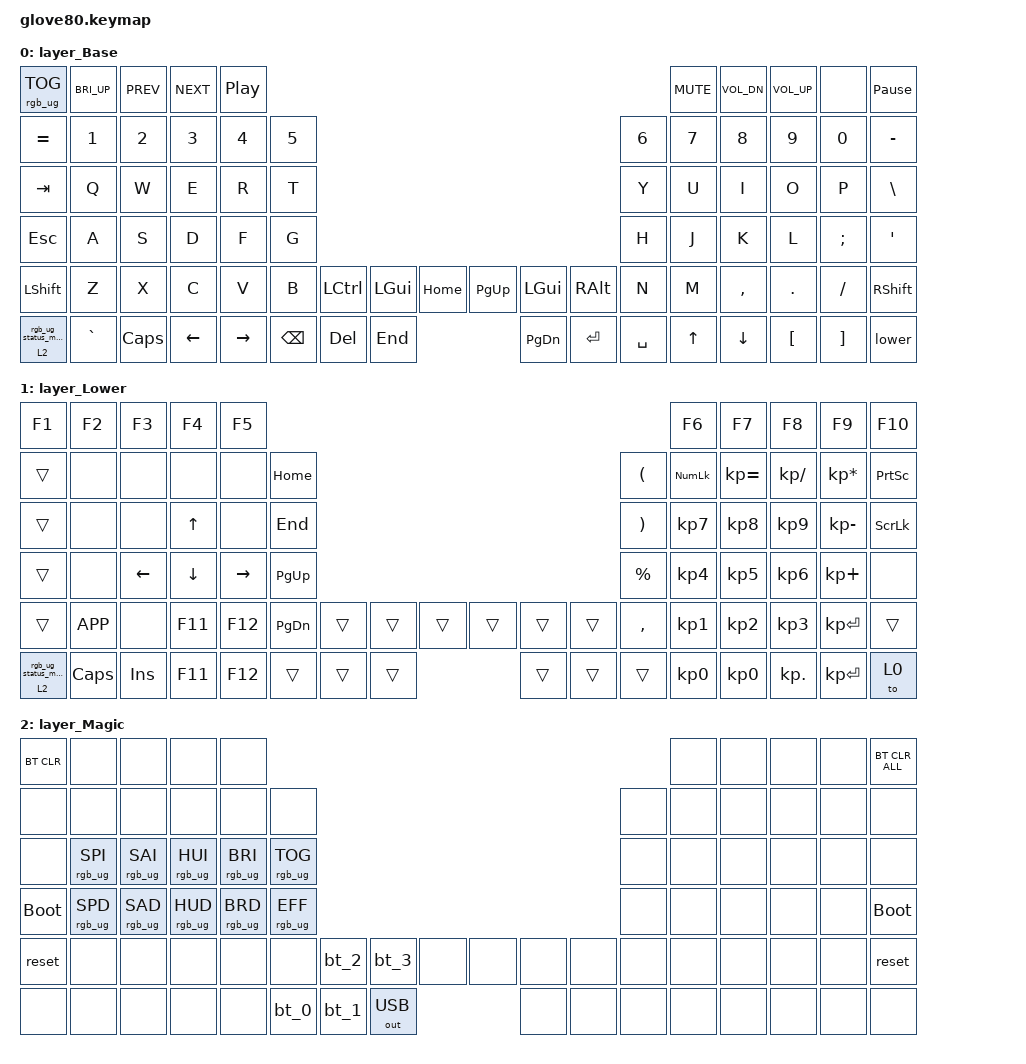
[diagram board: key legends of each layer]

#include <behaviors.dtsi>
/* Include all behaviour includes needed by system behaviors/macros */
#include <dt-bindings/zmk/outputs.h>

/* Include behaviour includes needed by key binds - automatically generated */
#include <dt-bindings/zmk/keys.h>
#include <dt-bindings/zmk/bt.h>
#include <dt-bindings/zmk/rgb.h>
#include <dt-bindings/zmk/outputs.h>

#define AS(keycode) &as LS(keycode) keycode

/ {
    /* Glove80 system behavior & macros */
    behaviors {
        // For the "layer" key, it'd nice to be able to use it as either a shift or a toggle.
        // Configure it as a tap dance, so the first tap (or hold) is a &mo and the second tap is a &to
        lower: tap_dance_0 {
            compatible = "zmk,behavior-tap-dance";
            label = "LAYER_TAP_DANCE";
            #binding-cells = <0>;
            tapping-term-ms = <200>;
            bindings = <&mo 1>, <&to 1>;
        };
/*
        shifty: tap_dance_1 {
            compatible = "zmk,behavior-hold-tap";
            label = "SHIFTY";
            #binding-cells = <2>;
            tapping-term-ms = <135>;
            flavor = "tap-preferred";
            bindings = <&kp>, <&kp>;
        }; */
        as: auto_shift {
            compatible = "zmk,behavior-hold-tap";
            label = "AUTO_SHIFT";
            #binding-cells = <2>;
            tapping-term-ms = <200>;
            quick-tap-ms = <0>;
            flavor = "tap-preferred";
            bindings = <&kp>, <&kp>;
        };
    };

    macros {
        rgb_ug_status_macro: rgb_ug_status_macro_0 {
            label = "RGB_UG_STATUS";
            compatible = "zmk,behavior-macro";
            #binding-cells = <0>;
            bindings
                = <&rgb_ug RGB_STATUS>;
        };
    };

    macros {
        bt_0: bt_profile_macro_0 {
            label = "BT_0";
            compatible = "zmk,behavior-macro";
            #binding-cells = <0>;
            bindings
                = <&out OUT_BLE>,
                  <&bt BT_SEL 0>;
        };
    };

    macros {
        bt_1: bt_profile_macro_1 {
            label = "BT_1";
            compatible = "zmk,behavior-macro";
            #binding-cells = <0>;
            bindings
                = <&out OUT_BLE>,
                  <&bt BT_SEL 1>;
        };
    };

    macros {
        bt_2: bt_profile_macro_2 {
            label = "BT_2";
            compatible = "zmk,behavior-macro";
            #binding-cells = <0>;
            bindings
                = <&out OUT_BLE>,
                  <&bt BT_SEL 2>;
        };
    };

    macros {
        bt_3: bt_profile_macro_3 {
            label = "BT_3";
            compatible = "zmk,behavior-macro";
            #binding-cells = <0>;
            bindings
                = <&out OUT_BLE>,
                  <&bt BT_SEL 3>;
        };
    };

    magic: magic_hold_tap {
        compatible = "zmk,behavior-hold-tap";
        label = "MAGIC_HOLD_TAP";
        #binding-cells = <2>;
        flavor = "tap-preferred";
        tapping-term-ms = <200>;
        bindings = <&mo>, <&rgb_ug_status_macro>;
    };

    keymap {
        compatible = "zmk,keymap";


        layer_Base {
            bindings = <
 &rgb_ug  RGB_TOG  &kp C_BRI_UP      &kp C_PREV      &kp C_NEXT         &kp C_PP                                                                                    &kp C_MUTE  &kp C_VOL_DN  &kp C_VOL_UP            &none  &kp PAUSE_BREAK
  &kp EQUAL     &kp N1        &kp N2    &kp N3     &kp N4  &kp N5                                                                 &kp N6  &kp N7     &kp N8    &kp N9    &kp N0  &kp MINUS
    &kp TAB     &kp Q         &kp W     &kp E      &kp R   &kp T                                                                  &kp Y   &kp U      &kp I     &kp O     &kp P   &kp BSLH
    &kp ESC      &kp A         &kp S     &kp D      &kp F   &kp G                                                                  &kp H   &kp J      &kp K     &kp L  &kp SEMI    &kp SQT
   &kp LSHFT &kp Z         &kp X     &kp C      &kp V   &kp B  &kp LCTRL  &kp LGUI  &kp HOME  &kp PG_UP  &kp LGUI   &kp RALT   &kp N   &kp M  &kp COMMA   &kp DOT  &kp FSLH  &kp RSHFT
 &magic 2 0 &kp GRAVE  &kp CAPSLOCK  &kp LEFT  &kp RIGHT           &kp BSPC   &kp DEL   &kp END  &kp PG_DN   &kp RET  &kp SPACE          &kp UP   &kp DOWN  &kp LBKT  &kp RBKT     &lower
            >;
        };

        layer_Lower {
            bindings = <
     &kp F1     &kp F2        &kp F3    &kp F4     &kp F5                                                                                 &kp F6     &kp F7    &kp F8    &kp F9    &kp F10
       &trans         &none           &none           &none            &none   &kp HOME                                                   &kp LEFT_PARENTHESIS  &kp KP_NUM  &kp KP_EQUAL  &kp KP_SLASH  &kp KP_MULTIPLY  &kp PRINTSCREEN
       &trans         &none           &none    &kp UP_ARROW            &none    &kp END                                                  &kp RIGHT_PARENTHESIS   &kp KP_N7     &kp KP_N8     &kp KP_N9     &kp KP_MINUS   &kp SCROLLLOCK
       &trans         &none  &kp LEFT_ARROW  &kp DOWN_ARROW  &kp RIGHT_ARROW  &kp PG_UP                                                            &kp PERCENT   &kp KP_N4     &kp KP_N5     &kp KP_N6      &kp KP_PLUS            &none
       &trans     &kp K_APP           &none         &kp F11          &kp F12  &kp PG_DN  &trans  &trans  &trans  &trans  &trans  &trans              &kp COMMA   &kp KP_N1     &kp KP_N2     &kp KP_N3     &kp KP_ENTER           &trans
   &magic 2 0      &kp CAPS         &kp INS         &kp F11          &kp F12             &trans  &trans  &trans  &trans  &trans  &trans                          &kp KP_N0     &kp KP_N0    &kp KP_DOT     &kp KP_ENTER            &to 0
            >;
        };

        layer_Magic {
            bindings = <
  &bt BT_CLR            &none            &none            &none            &none                                                                                  &none   &none   &none   &none  &bt BT_CLR_ALL
       &none            &none            &none            &none            &none            &none                                                         &none   &none   &none   &none   &none           &none
       &none  &rgb_ug RGB_SPI  &rgb_ug RGB_SAI  &rgb_ug RGB_HUI  &rgb_ug RGB_BRI  &rgb_ug RGB_TOG                                                         &none   &none   &none   &none   &none           &none
 &bootloader  &rgb_ug RGB_SPD  &rgb_ug RGB_SAD  &rgb_ug RGB_HUD  &rgb_ug RGB_BRD  &rgb_ug RGB_EFF                                                         &none   &none   &none   &none   &none     &bootloader
      &reset            &none            &none            &none            &none            &none   &bt_2   &bt_3         &none   &none   &none   &none   &none   &none   &none   &none   &none          &reset
       &none            &none            &none            &none            &none                    &bt_0   &bt_1  &out OUT_USB   &none   &none   &none           &none   &none   &none   &none           &none
            >;
        };

    };
};
